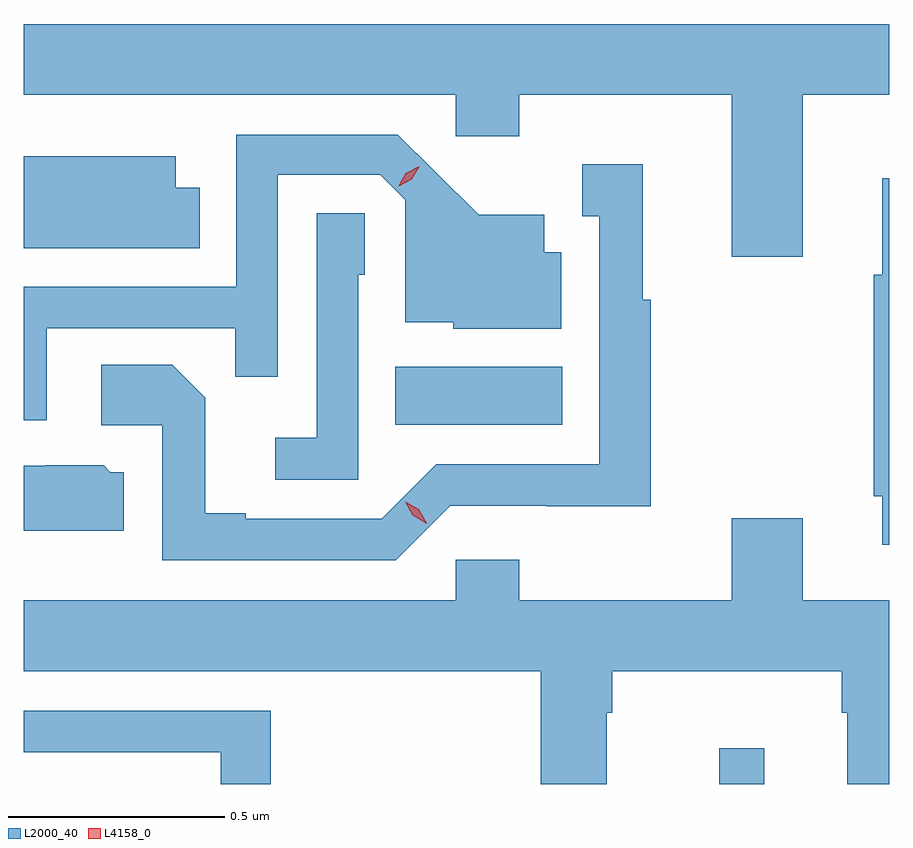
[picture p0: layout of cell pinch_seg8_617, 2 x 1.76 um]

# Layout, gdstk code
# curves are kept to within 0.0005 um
import gdstk
lib = gdstk.Library(unit=1e-6, precision=1e-09)
def R(c, l, rs):  # rectangles x0, y0, x1, y1
    for r in rs: c.add(gdstk.rectangle(r[:2], r[2:], *l))
def P(c, l, *ps):  # polygons
    for p in ps: c.add(gdstk.Polygon(p, *l))
L2000_40 = (2000, 40)
L4158_0 = (4158, 0)

pinch_seg8_617 = lib.new_cell('pinch_seg8_617')
R(pinch_seg8_617, L2000_40, [(152.992,1101.587,153.095,1101.67), (152.242,1102.418,152.629,1102.552)])
P(pinch_seg8_617, L2000_40, [(153.184,1103.18),(153.384,1103.18),(153.384,1103.344),(151.384,1103.344),(151.384,1103.18),(152.382,1103.18),(152.382,1103.085),(152.529,1103.085),(152.529,1103.18),(153.02,1103.18),(153.02,1102.806),(153.184,1102.806)],
  [(151.437,1102.641),(151.873,1102.641),(151.873,1102.528),(151.971,1102.528),(151.971,1102.995),(152.208,1102.995),(152.265,1102.938),(152.265,1102.655),(152.376,1102.655),(152.376,1102.64),(152.626,1102.64),(152.626,1102.816),(152.587,1102.816),(152.587,1102.903),(152.435,1102.903),(152.248,1103.088),(151.875,1103.088),(151.875,1102.737),(151.384,1102.737),(151.384,1102.428),(151.437,1102.428)],
  [(151.79,1102.966),(151.735,1102.966),(151.735,1103.038),(151.384,1103.038),(151.384,1102.826),(151.79,1102.826)],
  [(152.37,1102.23),(152.592,1102.23),(152.592,1102.229),(152.833,1102.229),(152.833,1102.707),(152.815,1102.707),(152.815,1103.02),(152.675,1103.02),(152.675,1102.899),(152.714,1102.899),(152.714,1102.326),(152.337,1102.326),(152.211,1102.2),(151.897,1102.2),(151.897,1102.213),(151.803,1102.213),(151.803,1102.48),(151.727,1102.556),(151.563,1102.556),(151.563,1102.416),(151.704,1102.416),(151.704,1102.104),(152.244,1102.104)],
  [(153.384,1102.987),(153.368,1102.987),(153.368,1102.764),(153.349,1102.764),(153.349,1102.252),(153.368,1102.252),(153.368,1102.14),(153.384,1102.14)],
  [(152.157,1102.764),(152.172,1102.764),(152.172,1102.907),(152.061,1102.907),(152.061,1102.387),(151.965,1102.387),(151.965,1102.29),(152.157,1102.29)],
  [(151.615,1102.308),(151.584,1102.308),(151.568,1102.324),(151.434,1102.324),(151.434,1102.323),(151.384,1102.323),(151.384,1102.172),(151.615,1102.172)],
  [(152.731,1101.752),(152.744,1101.752),(152.744,1101.848),(153.275,1101.848),(153.275,1101.752),(153.287,1101.752),(153.287,1101.587),(153.384,1101.587),(153.384,1102.012),(153.184,1102.012),(153.184,1102.201),(153.02,1102.201),(153.02,1102.012),(152.529,1102.012),(152.529,1102.105),(152.382,1102.105),(152.382,1102.012),(151.384,1102.012),(151.384,1101.848),(152.579,1101.848),(152.579,1101.587),(152.731,1101.587)],
  [(151.955,1101.756),(151.384,1101.756),(151.384,1101.66),(151.839,1101.66),(151.839,1101.587),(151.955,1101.587)])
P(pinch_seg8_617, L4158_0, [(152.25,1102.969),(152.25,1102.97),(152.267,1102.999),(152.298,1103.015),(152.298,1103.015),(152.298,1103.014),(152.281,1102.985),(152.251,1102.969)],
  [(152.315,1102.189),(152.283,1102.208),(152.265,1102.24),(152.265,1102.24),(152.265,1102.24),(152.297,1102.222),(152.315,1102.19),(152.315,1102.189)])

lib.write_gds('pinch_seg8_617.gds')
